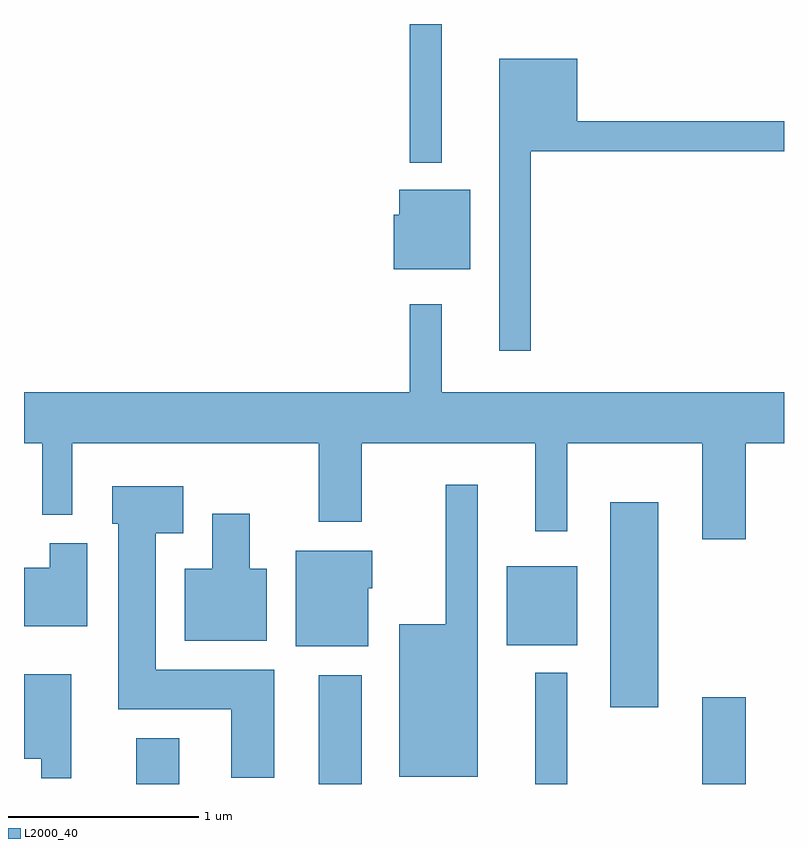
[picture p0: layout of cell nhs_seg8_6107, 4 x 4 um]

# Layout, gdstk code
import gdstk
lib = gdstk.Library(unit=1e-6, precision=1e-09)
def R(c, l, rs):  # rectangles x0, y0, x1, y1
    for r in rs: c.add(gdstk.rectangle(r[:2], r[2:], *l))
def P(c, l, *ps):  # polygons
    for p in ps: c.add(gdstk.Polygon(p, *l))
L2000_40 = (2000, 40)

nhs_seg8_6107 = lib.new_cell('nhs_seg8_6107')
R(nhs_seg8_6107, L2000_40, [(368.201,1892.342,368.429,1892.584), (369.161,1892.342,369.389,1892.914), (370.301,1892.342,370.469,1892.928), (371.181,1892.342,371.409,1892.799), (370.696,1892.746,370.949,1893.824), (370.151,1893.071,370.524,1893.489), (369.641,1895.613,369.809,1896.342)])
P(nhs_seg8_6107, L2000_40, [(370.279,1895.671),(371.611,1895.671),(371.611,1895.829),(370.524,1895.829),(370.524,1896.159),(370.111,1896.159),(370.111,1894.623),(370.279,1894.623)],
  [(369.959,1895.469),(369.586,1895.469),(369.586,1895.339),(369.556,1895.339),(369.556,1895.051),(369.959,1895.051)],
  [(371.409,1894.136),(371.611,1894.136),(371.611,1894.404),(369.809,1894.404),(369.809,1894.868),(369.641,1894.868),(369.641,1894.404),(367.611,1894.404),(367.611,1894.136),(367.706,1894.136),(367.706,1893.758),(367.864,1893.758),(367.864,1894.136),(369.161,1894.136),(369.161,1893.721),(369.389,1893.721),(369.389,1894.136),(370.301,1894.136),(370.301,1893.673),(370.469,1893.673),(370.469,1894.136),(371.181,1894.136),(371.181,1893.631),(371.409,1893.631)],
  [(369.999,1893.918),(369.831,1893.918),(369.831,1893.184),(369.586,1893.184),(369.586,1892.381),(369.999,1892.381)],
  [(368.929,1892.944),(368.304,1892.944),(368.304,1893.661),(368.449,1893.661),(368.449,1893.909),(368.076,1893.909),(368.076,1893.711),(368.106,1893.711),(368.106,1892.736),(368.701,1892.736),(368.701,1892.376),(368.929,1892.376)],
  [(368.889,1893.474),(368.799,1893.474),(368.799,1893.764),(368.601,1893.764),(368.601,1893.474),(368.456,1893.474),(368.456,1893.096),(368.889,1893.096)],
  [(367.944,1893.609),(367.746,1893.609),(367.746,1893.479),(367.611,1893.479),(367.611,1893.171),(367.944,1893.171)],
  [(369.424,1893.371),(369.444,1893.371),(369.444,1893.569),(369.041,1893.569),(369.041,1893.066),(369.424,1893.066)],
  [(367.859,1892.919),(367.611,1892.919),(367.611,1892.476),(367.701,1892.476),(367.701,1892.373),(367.859,1892.373)])

lib.write_gds('nhs_seg8_6107.gds')
